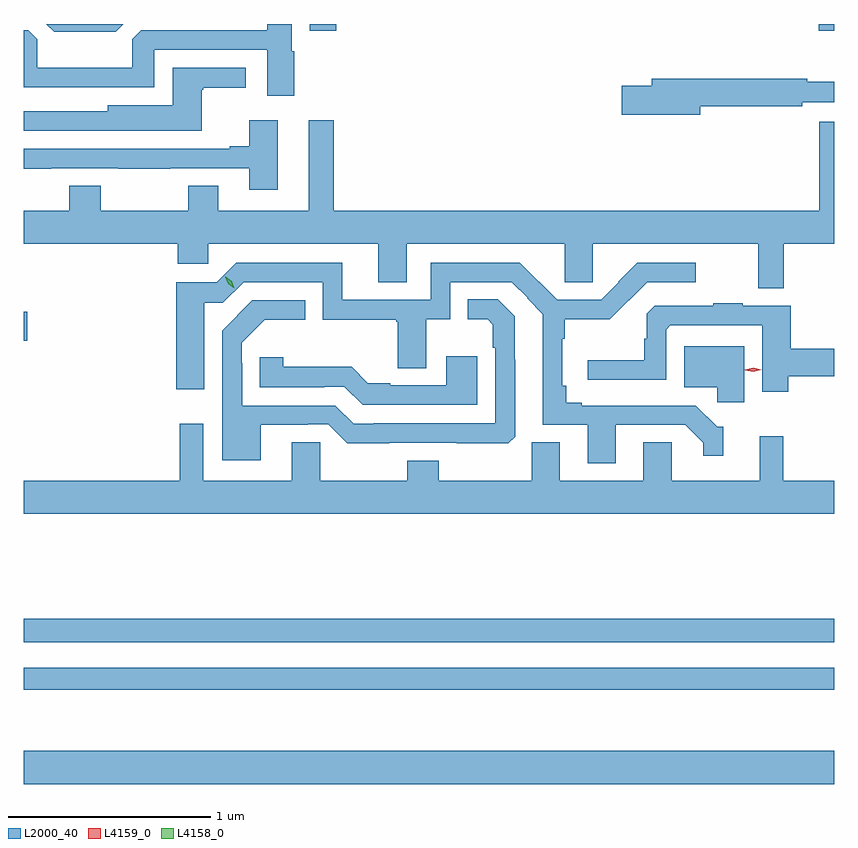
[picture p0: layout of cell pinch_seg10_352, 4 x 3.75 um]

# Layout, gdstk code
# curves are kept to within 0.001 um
import gdstk
lib = gdstk.Library(unit=1e-6, precision=1e-09)
def R(c, l, rs):  # rectangles x0, y0, x1, y1
    for r in rs: c.add(gdstk.rectangle(r[:2], r[2:], *l))
def P(c, l, *ps):  # polygons
    for p in ps: c.add(gdstk.Polygon(p, *l))
L2000_40 = (2000, 40)
L4158_0 = (4158, 0)
L4159_0 = (4159, 0)

pinch_seg10_352 = lib.new_cell('pinch_seg10_352')
R(pinch_seg10_352, L2000_40, [(526.909,1279.004,530.909,1279.168), (526.909,1279.47,530.909,1279.578), (526.909,1279.704,530.909,1279.82), (526.909,1281.191,526.927,1281.333), (528.32,1282.719,528.452,1282.753), (530.831,1282.719,530.909,1282.753)])
P(pinch_seg10_352, L2000_40, [(528.245,1282.619),(528.232,1282.619),(528.232,1282.753),(528.11,1282.753),(528.11,1282.722),(527.49,1282.722),(527.445,1282.677),(527.445,1282.538),(526.977,1282.538),(526.977,1282.677),(526.932,1282.722),(526.909,1282.722),(526.909,1282.44),(527.553,1282.44),(527.553,1282.626),(528.11,1282.626),(528.11,1282.398),(528.245,1282.398)],
  [(527.401,1282.753),(527.022,1282.753),(527.06,1282.715),(527.363,1282.715)],
  [(527.788,1282.428),(527.796,1282.428),(527.796,1282.439),(528.004,1282.439),(528.004,1282.536),(527.645,1282.536),(527.645,1282.351),(527.325,1282.351),(527.325,1282.323),(526.909,1282.323),(526.909,1282.227),(527.425,1282.227),(527.425,1282.226),(527.788,1282.226)],
  [(530.248,1282.348),(530.75,1282.348),(530.75,1282.368),(530.909,1282.368),(530.909,1282.467),(530.776,1282.467),(530.776,1282.484),(530.009,1282.484),(530.009,1282.448),(529.86,1282.448),(529.86,1282.306),(530.248,1282.306)],
  [(530.66,1281.668),(530.909,1281.668),(530.909,1282.27),(530.834,1282.27),(530.834,1281.832),(528.439,1281.832),(528.439,1282.279),(528.317,1282.279),(528.317,1281.832),(527.869,1281.832),(527.869,1281.956),(527.722,1281.956),(527.722,1281.832),(527.289,1281.832),(527.289,1281.956),(527.134,1281.956),(527.134,1281.832),(526.909,1281.832),(526.909,1281.668),(527.669,1281.668),(527.669,1281.57),(527.82,1281.57),(527.82,1281.668),(528.659,1281.668),(528.659,1281.478),(528.799,1281.478),(528.799,1281.668),(529.579,1281.668),(529.579,1281.478),(529.716,1281.478),(529.716,1281.668),(530.532,1281.668),(530.532,1281.45),(530.66,1281.45)],
  [(528.163,1282.279),(528.023,1282.279),(528.023,1282.15),(527.927,1282.15),(527.927,1282.137),(526.909,1282.137),(526.909,1282.04),(527.045,1282.04),(527.045,1282.041),(527.377,1282.041),(527.377,1282.04),(527.633,1282.04),(527.633,1282.041),(528.023,1282.041),(528.023,1281.936),(528.163,1281.936)],
  [(529.831,1280.775),(530.173,1280.775),(530.261,1280.687),(530.261,1280.622),(530.36,1280.622),(530.36,1280.766),(530.331,1280.766),(530.226,1280.871),(529.663,1280.871),(529.663,1280.884),(529.586,1280.884),(529.586,1280.968),(529.566,1280.968),(529.566,1281.2),(529.579,1281.2),(529.579,1281.296),(529.801,1281.296),(529.986,1281.48),(530.224,1281.48),(530.224,1281.576),(529.937,1281.576),(529.843,1281.482),(529.845,1281.48),(529.758,1281.393),(529.542,1281.393),(529.357,1281.576),(528.918,1281.576),(528.918,1281.393),(528.481,1281.393),(528.481,1281.576),(527.958,1281.576),(527.862,1281.48),(527.663,1281.48),(527.663,1280.952),(527.8,1280.952),(527.8,1281.378),(527.892,1281.378),(527.994,1281.48),(528.384,1281.48),(528.384,1281.295),(528.748,1281.295),(528.748,1281.285),(528.755,1281.285),(528.755,1281.055),(528.895,1281.055),(528.895,1281.296),(529.014,1281.296),(529.014,1281.48),(529.317,1281.48),(529.395,1281.402),(529.393,1281.399),(529.469,1281.322),(529.469,1280.775),(529.691,1280.775),(529.691,1280.586),(529.831,1280.586)],
  [(528.079,1280.775),(528.311,1280.775),(528.311,1280.778),(528.411,1280.778),(528.505,1280.684),(528.713,1280.684),(528.713,1280.688),(529.045,1280.688),(529.045,1280.684),(529.301,1280.684),(529.334,1280.717),(529.334,1281.097),(529.332,1281.097),(529.332,1281.312),(529.249,1281.395),(529.099,1281.395),(529.099,1281.296),(529.199,1281.296),(529.224,1281.27),(529.224,1281.155),(529.236,1281.155),(529.236,1280.784),(528.637,1280.784),(528.637,1280.781),(528.537,1280.781),(528.447,1280.871),(527.989,1280.871),(527.989,1281.08),(527.985,1281.08),(527.985,1281.18),(528.098,1281.293),(528.298,1281.293),(528.298,1281.39),(528.038,1281.39),(527.888,1281.24),(527.888,1280.6),(528.079,1280.6)],
  [(530.68,1281.016),(530.909,1281.016),(530.909,1281.152),(530.693,1281.152),(530.693,1281.363),(530.456,1281.363),(530.456,1281.376),(530.311,1281.376),(530.311,1281.363),(530.022,1281.363),(529.983,1281.324),(529.983,1281.2),(529.971,1281.2),(529.971,1281.095),(529.692,1281.095),(529.692,1280.997),(530.079,1280.997),(530.079,1281.246),(530.1,1281.267),(530.552,1281.267),(530.552,1280.94),(530.68,1280.94)],
  [(530.464,1281.163),(530.168,1281.163),(530.168,1280.96),(530.332,1280.96),(530.332,1280.888),(530.464,1280.888)],
  [(529.147,1281.115),(528.995,1281.115),(528.995,1280.97),(528.718,1280.97),(528.718,1280.982),(528.608,1280.982),(528.528,1281.062),(528.19,1281.062),(528.19,1281.109),(528.074,1281.109),(528.074,1280.961),(528.392,1280.961),(528.392,1280.964),(528.492,1280.964),(528.582,1280.874),(529.147,1280.874)],
  [(530.909,1280.5),(530.657,1280.5),(530.657,1280.719),(530.54,1280.719),(530.54,1280.5),(530.106,1280.5),(530.106,1280.69),(529.967,1280.69),(529.967,1280.5),(529.555,1280.5),(529.555,1280.69),(529.415,1280.69),(529.415,1280.5),(528.957,1280.5),(528.957,1280.599),(528.802,1280.599),(528.802,1280.5),(528.372,1280.5),(528.372,1280.69),(528.233,1280.69),(528.233,1280.5),(527.796,1280.5),(527.796,1280.782),(527.68,1280.782),(527.68,1280.5),(526.909,1280.5),(526.909,1280.336),(530.909,1280.336)])
P(pinch_seg10_352, L4158_0, [(527.949,1281.45),(527.919,1281.472),(527.905,1281.506),(527.905,1281.506),(527.906,1281.506),(527.935,1281.484),(527.949,1281.45),(527.949,1281.45)])
P(pinch_seg10_352, L4159_0, [(530.508,1281.037),(530.468,1281.046),(530.467,1281.047),(530.468,1281.047),(530.508,1281.057),(530.548,1281.047),(530.548,1281.047),(530.548,1281.047)])

lib.write_gds('pinch_seg10_352.gds')
